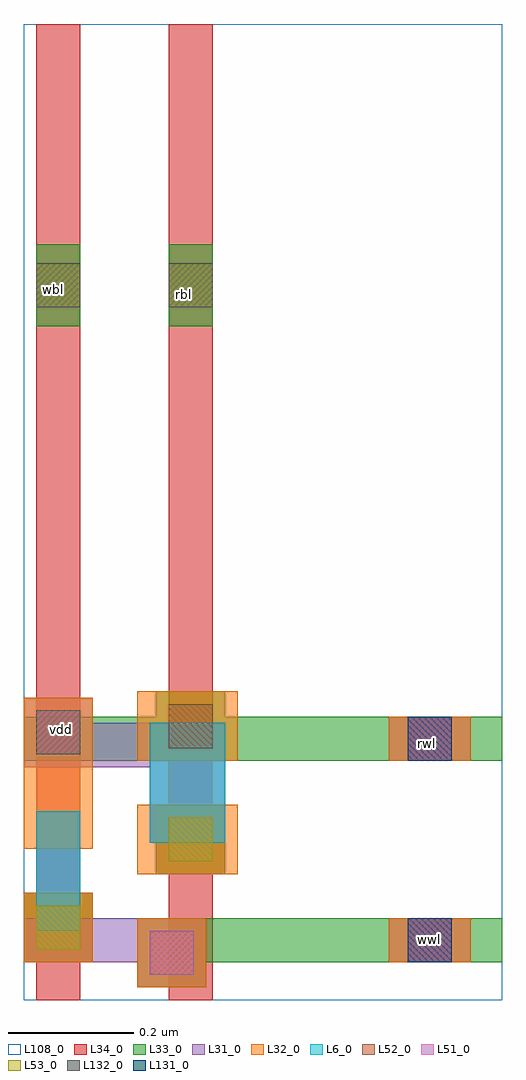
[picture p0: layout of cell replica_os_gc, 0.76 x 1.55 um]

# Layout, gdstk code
import gdstk
lib = gdstk.Library(unit=1e-6, precision=1e-09)
def R(c, l, rs):  # rectangles x0, y0, x1, y1
    for r in rs: c.add(gdstk.rectangle(r[:2], r[2:], *l))
L6_0 = (6, 0)
L31_0 = (31, 0)
L32_0 = (32, 0)
L33_0 = (33, 0)
L34_0 = (34, 0)
L51_0 = (51, 0)
L52_0 = (52, 0)
L53_0 = (53, 0)
L108_0 = (108, 0)
L131_0 = (131, 0)
L132_0 = (132, 0)

replica_os_gc = lib.new_cell('replica_os_gc')
R(replica_os_gc, L6_0, [(0.02,0.11,0.09,0.3), (0.2,0.25,0.32,0.44)])
R(replica_os_gc, L31_0, [(0.18,0.02,0.29,0.13), (0,0.06,0.19,0.13), (0.58,0.06,0.71,0.13), (0.02,0.11,0.09,0.3), (0.2,0.25,0.32,0.44), (0,0.37,0.11,0.48), (0.03,0.37,0.32,0.44), (0.58,0.38,0.71,0.45)])
R(replica_os_gc, L32_0, [(0.18,0.02,0.29,0.13), (0,0.06,0.11,0.17), (0.58,0.06,0.71,0.13), (0.18,0.2,0.34,0.31), (0,0.24,0.11,0.48), (0.18,0.38,0.34,0.49), (0.58,0.38,0.71,0.45)])
R(replica_os_gc, L33_0, [(0.18,0.02,0.29,0.13), (0,0.06,0.11,0.17), (0.19,0.06,0.76,0.13), (0.21,0.2,0.32,0.31), (0,0.38,0.76,0.45), (0.21,0.38,0.32,0.49), (0.02,1.07,0.09,1.2), (0.02,1.07,0.09,1.2), (0.23,1.07,0.3,1.2), (0.23,1.07,0.3,1.2), (0.02,1.1,0.09,1.17), (0.23,1.1,0.3,1.17)])
R(replica_os_gc, L34_0, [(0.02,0,0.09,1.55), (0.23,0,0.3,1.55), (0,0.06,0.11,0.17), (0.21,0.2,0.32,0.31)])
R(replica_os_gc, L51_0, [(0.2,0.04,0.27,0.11), (0.61,0.06,0.68,0.13), (0.61,0.38,0.68,0.45), (0.02,0.39,0.09,0.46)])
R(replica_os_gc, L52_0, [(0.2,0.04,0.27,0.11), (0.61,0.06,0.68,0.13), (0.02,0.08,0.09,0.15), (0.23,0.22,0.3,0.29), (0.61,0.38,0.68,0.45), (0.23,0.4,0.3,0.47)])
R(replica_os_gc, L53_0, [(0.02,0.08,0.09,0.15), (0.23,0.22,0.3,0.29), (0.02,1.1,0.09,1.17), (0.23,1.1,0.3,1.17)])
R(replica_os_gc, L108_0, [(0,0,0.76,1.55)])
R(replica_os_gc, L131_0, [(0.61,0.06,0.68,0.13), (0.61,0.38,0.68,0.45)])
R(replica_os_gc, L132_0, [(0.02,0.39,0.09,0.46), (0.02,1.1,0.09,1.17), (0.23,1.1,0.3,1.17)])
replica_os_gc.add(gdstk.Label('rwl', (0.639,0.407), layer=131, texttype=0))
replica_os_gc.add(gdstk.Label('wwl', (0.645,0.096), layer=131, texttype=0))
replica_os_gc.add(gdstk.Label('vdd', (0.06,0.43), layer=132, texttype=0))
replica_os_gc.add(gdstk.Label('rbl', (0.254,1.121), layer=132, texttype=0))
replica_os_gc.add(gdstk.Label('wbl', (0.048,1.128), layer=132, texttype=0))

lib.write_gds('replica_os_gc.gds')
